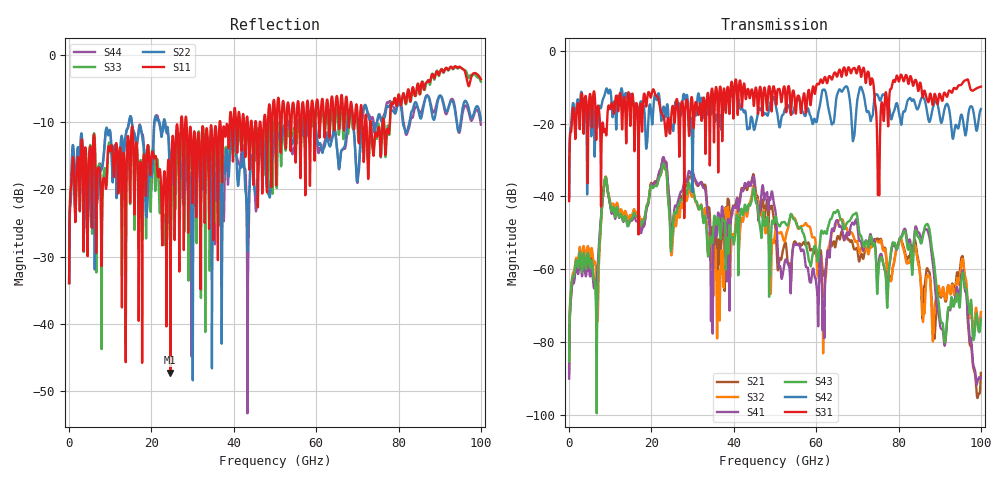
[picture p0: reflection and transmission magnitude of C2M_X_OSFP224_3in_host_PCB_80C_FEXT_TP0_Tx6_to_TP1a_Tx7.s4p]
# GHz S RI R 45
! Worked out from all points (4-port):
!   4000 points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, 25 MHz to 100 GHz, reference 45 ohm
!   strongest paths, dB at 25 MHz, 25.02 GHz, 50.02 GHz, 75.03 GHz, 100 GHz:
!     S31: -41.3, -15.6, -11.3, -39.6, -9.8
!     S42: -40.1, -20.8, -13.9, -12.3, -15.9
!     S43: -85.3, -51.6, -45.9, -62.4, -73.7
!     S41: -90.1, -48.9, -43.4, -60.9, -89.8
!     S32: -87.1, -54.9, -50.1, -52.5, -71.8
!     S21: -88.7, -52.3, -47.6, -51.6, -88.6
!   lowest |S11| = -47.2 dB at 24.6 GHz (marker M1), VSWR 1.01, Z = 44.8 - j0.31 ohm
!   |S11| at or under -10 dB: start of sweep to 27.18 GHz; 28.53 GHz to 36.58 GHz (8.051 GHz wide, 24.7 % of centre); 73.28 GHz to 76.13 GHz (2.852 GHz wide, 3.82 % of centre) (the widest 3 of 36)
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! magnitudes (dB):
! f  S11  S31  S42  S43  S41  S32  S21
! 25 MHz  -33.9  -41.3  -40.1  -85.3  -90.1  -87.1  -88.7
! 6.625 GHz  -27.8  -23.8  -18.8  -75.5  -64.5  -61.2  -66.8
! 8.825 GHz  -19.2  -21.6  -11.2  -34.7  -34.9  -34.6  -34.9
! 24.6 GHz  -47.2  -22.3  -19.9  -51.3  -47.7  -49.6  -47.5
! 61.83 GHz  -9.2  -8.0  -10.6  -50.0  -69.6  -70.7  -61.6
! 86.72 GHz  -4.2  -12.6  -15.4  -47.7  -49.0  -63.1  -60.8
! 100 GHz  -3.6  -9.8  -15.9  -73.7  -89.8  -71.8  -88.6
